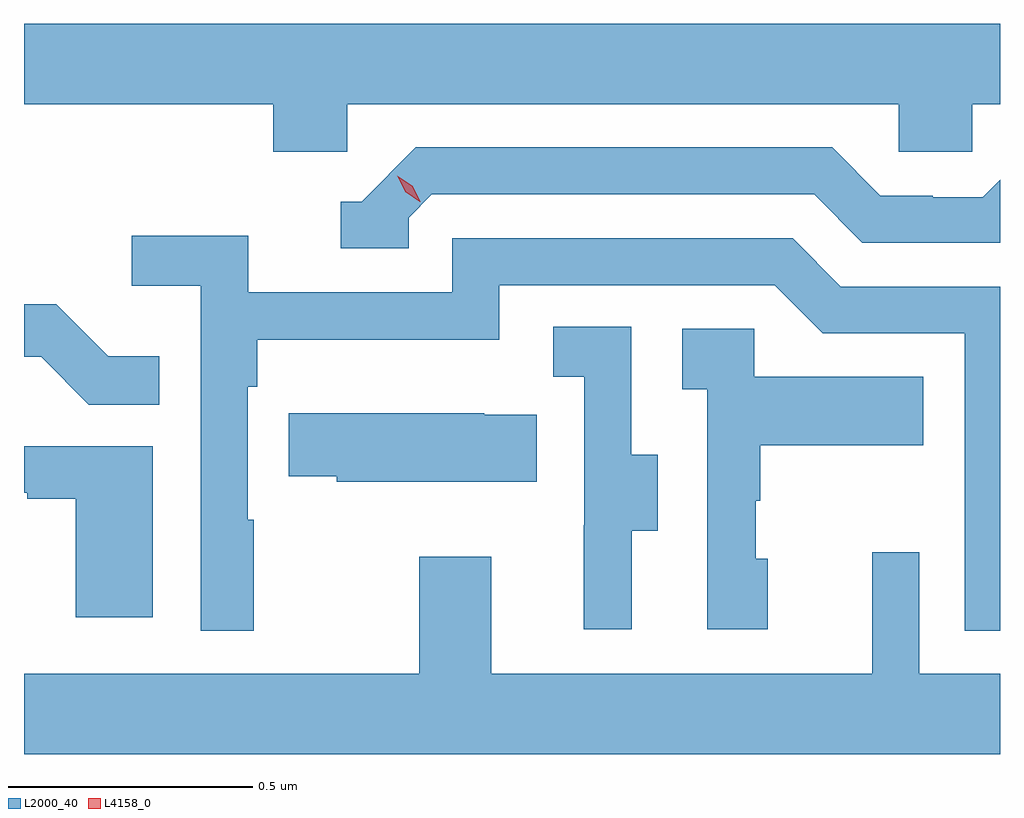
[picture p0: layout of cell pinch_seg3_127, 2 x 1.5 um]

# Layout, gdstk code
import gdstk
lib = gdstk.Library(unit=1e-6, precision=1e-09)
def P(c, l, *ps):  # polygons
    for p in ps: c.add(gdstk.Polygon(p, *l))
L2000_40 = (2000, 40)
L4158_0 = (4158, 0)

pinch_seg3_127 = lib.new_cell('pinch_seg3_127')
P(pinch_seg3_127, L2000_40, [(1142.922,711.572),(1144.053,711.572),(1144.053,711.474),(1144.203,711.474),(1144.203,711.572),(1144.26,711.572),(1144.26,711.736),(1142.26,711.736),(1142.26,711.572),(1142.771,711.572),(1142.771,711.474),(1142.922,711.474)],
  [(1143.048,711.339),(1143.096,711.387),(1143.879,711.387),(1143.978,711.288),(1144.26,711.288),(1144.26,711.417),(1144.225,711.381),(1144.122,711.381),(1144.122,711.384),(1144.015,711.384),(1143.916,711.483),(1143.063,711.483),(1142.952,711.372),(1142.909,711.372),(1142.909,711.276),(1143.048,711.276)],
  [(1142.731,710.72),(1142.718,710.72),(1142.718,710.993),(1142.738,710.993),(1142.738,711.089),(1143.234,711.089),(1143.234,711.201),(1143.798,711.201),(1143.897,711.102),(1144.188,711.102),(1144.188,710.493),(1144.26,710.493),(1144.26,711.198),(1143.934,711.198),(1143.835,711.297),(1143.138,711.297),(1143.138,711.186),(1142.72,711.186),(1142.72,711.302),(1142.481,711.302),(1142.481,711.2),(1142.622,711.2),(1142.622,710.493),(1142.731,710.493)],
  [(1142.537,711.055),(1142.433,711.055),(1142.326,711.162),(1142.26,711.162),(1142.26,711.054),(1142.295,711.054),(1142.393,710.956),(1142.537,710.956)],
  [(1143.505,710.698),(1143.559,710.698),(1143.559,710.853),(1143.504,710.853),(1143.504,711.116),(1143.345,711.116),(1143.345,711.013),(1143.408,711.013),(1143.408,710.709),(1143.407,710.709),(1143.407,710.496),(1143.505,710.496)],
  [(1143.784,710.64),(1143.759,710.64),(1143.759,710.759),(1143.769,710.759),(1143.769,710.873),(1144.103,710.873),(1144.103,711.013),(1143.756,711.013),(1143.756,711.111),(1143.609,711.111),(1143.609,710.987),(1143.66,710.987),(1143.66,710.496),(1143.784,710.496)],
  [(1143.311,710.935),(1143.203,710.935),(1143.203,710.938),(1142.803,710.938),(1142.803,710.809),(1142.901,710.809),(1142.901,710.798),(1143.311,710.798)],
  [(1142.524,710.871),(1142.26,710.871),(1142.26,710.775),(1142.267,710.775),(1142.267,710.763),(1142.366,710.763),(1142.366,710.52),(1142.524,710.52)],
  [(1144.26,710.404),(1144.095,710.404),(1144.095,710.653),(1143.998,710.653),(1143.998,710.404),(1143.217,710.404),(1143.217,710.644),(1143.07,710.644),(1143.07,710.404),(1142.26,710.404),(1142.26,710.24),(1144.26,710.24)])
P(pinch_seg3_127, L4158_0, [(1143.071,711.372),(1143.041,711.392),(1143.025,711.425),(1143.025,711.425),(1143.025,711.425),(1143.056,711.405),(1143.072,711.373),(1143.072,711.372)])

lib.write_gds('pinch_seg3_127.gds')
